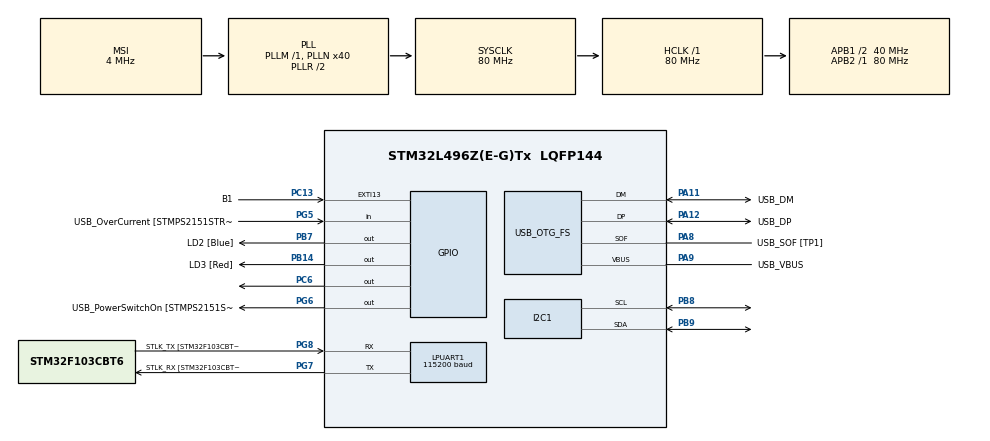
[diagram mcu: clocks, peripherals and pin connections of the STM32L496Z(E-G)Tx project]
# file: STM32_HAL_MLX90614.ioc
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I2C1.Timing=0x00909BEB
LPUART1.BaudRate=115200
LPUART1.WordLength=UART_WORDLENGTH_8B
Mcu.Family=STM32L4
Mcu.Name=STM32L496Z(E-G)Tx
Mcu.Package=LQFP144
NVIC.PriorityGroup=NVIC_PRIORITYGROUP_4
PA10.GPIO_Label=USB_ID
PA10.Signal=USB_OTG_FS_ID
PA11.GPIO_Label=USB_DM
PA11.Mode=Device_Only
PA11.Signal=USB_OTG_FS_DM
PA12.GPIO_Label=USB_DP
PA12.Mode=Device_Only
PA12.Signal=USB_OTG_FS_DP
PA13\ (JTMS/SWDIO).GPIO_Label=TMS
PA13\ (JTMS/SWDIO).Mode=Trace_Asynchronous_SW
PA13\ (JTMS/SWDIO).Signal=SYS_JTMS-SWDIO
PA14\ (JTCK/SWCLK).GPIO_Label=TCK
PA14\ (JTCK/SWCLK).Mode=Trace_Asynchronous_SW
PA14\ (JTCK/SWCLK).Signal=SYS_JTCK-SWCLK
PA8.GPIO_Label=USB_SOF [TP1]
PA8.Mode=Activate_SOF_FS
PA8.Signal=USB_OTG_FS_SOF
PA9.GPIO_Label=USB_VBUS
PA9.Mode=Activate_VBUS
PA9.Signal=USB_OTG_FS_VBUS
PB14.GPIO_Label=LD3 [Red]
PB14.Signal=GPIO_Output
PB3\ (JTDO/TRACESWO).GPIO_Label=SWO
PB3\ (JTDO/TRACESWO).Mode=Trace_Asynchronous_SW
PB3\ (JTDO/TRACESWO).Signal=SYS_JTDO-SWO
PB7.GPIO_Label=LD2 [Blue]
PB7.Signal=GPIO_Output
PB8.Mode=I2C
PB8.Signal=I2C1_SCL
PB9.Mode=I2C
PB9.Signal=I2C1_SDA
PC13.GPIO_Label=B1
PC13.Signal=GPXTI13
PC14-OSC32_IN\ (PC14).Mode=LSE-External-Oscillator
PC14-OSC32_IN\ (PC14).Signal=RCC_OSC32_IN
PC15-OSC32_OUT\ (PC15).Mode=LSE-External-Oscillator
PC15-OSC32_OUT\ (PC15).Signal=RCC_OSC32_OUT
PC6.Signal=GPIO_Output
PG5.GPIO_Label=USB_OverCurrent [STMPS2151STR_FAULT]
PG5.Signal=GPIO_Input
PG6.GPIO_Label=USB_PowerSwitchOn [STMPS2151STR_EN]
PG6.Signal=GPIO_Output
PG7.GPIO_Label=STLK_RX [STM32F103CBT6_PA3]
PG7.Mode=Asynchronous
PG7.Signal=LPUART1_TX
PG8.GPIO_Label=STLK_TX [STM32F103CBT6_PA2]
PG8.Mode=Asynchronous
PG8.Signal=LPUART1_RX
PH1-OSC_OUT\ (PH1).Signal=RCC_OSC_OUT
ProjectManager.HeapSize=0x200
ProjectManager.StackSize=0x400
ProjectManager.TargetToolchain=STM32CubeIDE
RCC.48MHZClocksFreq_Value=24000000
RCC.ADCFreq_Value=48000000
RCC.AHBFreq_Value=80000000
RCC.APB1CLKDivider=RCC_HCLK_DIV2
RCC.APB1Freq_Value=40000000
RCC.APB1TimFreq_Value=80000000
RCC.APB2Freq_Value=80000000
RCC.APB2TimFreq_Value=80000000
RCC.CortexFreq_Value=80000000
RCC.HCLKFreq_Value=80000000
RCC.HSE_VALUE=8000000
RCC.HSI48_VALUE=48000000
RCC.HSI_VALUE=16000000
RCC.MSI_VALUE=4000000
RCC.PLLMUL=RCC_PLL_MUL9
RCC.PLLN=40
RCC.PLLSAI1N=24
RCC.PRESCALERUSB=RCC_USBCLKSOURCE_PLL_DIV1_5
RCC.SYSCLKFreq_VALUE=80000000
RCC.SYSCLKSource=RCC_SYSCLKSOURCE_PLLCLK
RCC.SYSCLKSourceVirtual=RCC_SYSCLKSOURCE_PLLCLK
RCC.USBFreq_Value=48000000
RCC.VCOOutputFreq_Value=160000000
USB_OTG_FS.VirtualMode=Device_Only
board=NUCLEO-L496ZG

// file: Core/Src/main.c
/* USER CODE BEGIN Header */
/**
  ******************************************************************************
  * @file           : main.c
  * @brief          : Main program body
  ******************************************************************************
  * @attention
  *
  * Copyright (c) 2023 STMicroelectronics.
  * All rights reserved.
  *
  * This software is licensed under terms that can be found in the LICENSE file
  * in the root directory of this software component.
  * If no LICENSE file comes with this software, it is provided AS-IS.
  *
  ******************************************************************************
  */
/* USER CODE END Header */
#include "main.h"
#include "i2c.h"
#include "usart.h"
#include "usb_otg.h"
#include "gpio.h"

/* USER CODE BEGIN Includes */
#include "stdio.h"
#include "mlx90614.h"
/* USER CODE END Includes */

void SystemClock_Config(void);
/* USER CODE BEGIN PFP */
#define PUTCHAR_PROTOTYPE int __io_putchar(int ch)
/* USER CODE END PFP */

int main(void)
{

  /* MCU Configuration--------------------------------------------------------*/

  /* Reset of all peripherals, Initializes the Flash interface and the Systick. */
  HAL_Init();

  /* Configure the system clock */
  SystemClock_Config();

  /* Initialize all configured peripherals */
  MX_GPIO_Init();
  MX_LPUART1_UART_Init();
  MX_USB_OTG_FS_PCD_Init();
  MX_I2C1_Init();
  /* USER CODE BEGIN 2 */

  MLX90614 sensor[1];
  sensor->address = 0x5A;
  sensor->interface = &hi2c1;
  sensor->power_gpio = GPIOC;
  sensor->power_gpio_pin = GPIO_PIN_6;

  if(MLX90614_init(sensor) != HAL_OK) printf("Can't connect!\r\n");

  MLX90614_writeEEPROM(sensor, MLX90614_EEPROM_I2C_ADDRESS, 0x005A);

  int newAddress = MLX90614_readEEPROM(sensor, MLX90614_EEPROM_I2C_ADDRESS);
  printf("New address: %X\r\n", newAddress);

  /* USER CODE END 2 */

  /* Infinite loop */
  /* USER CODE BEGIN WHILE */
  while (1)
  {
	  float t_a, t_obj;
	  MLX90614_readAmbientTemperature(sensor, &t_a);
	  MLX90614_readObjTemperature(sensor, &t_obj, MLX90614_OBJ1);
	  printf("t_a: %f\t t_obj: %f\r\n", t_a, t_obj);
	  HAL_Delay(500);
    /* USER CODE END WHILE */

  }
}

void SystemClock_Config(void)
{
  RCC_OscInitTypeDef RCC_OscInitStruct = {0};
  RCC_ClkInitTypeDef RCC_ClkInitStruct = {0};

  /** Configure the main internal regulator output voltage
  */
  if (HAL_PWREx_ControlVoltageScaling(PWR_REGULATOR_VOLTAGE_SCALE1) != HAL_OK)
  {
    Error_Handler();
  }

  /** Configure LSE Drive Capability
  */
  HAL_PWR_EnableBkUpAccess();
  __HAL_RCC_LSEDRIVE_CONFIG(RCC_LSEDRIVE_LOW);

  /** Initializes the RCC Oscillators according to the specified parameters
  * in the RCC_OscInitTypeDef structure.
  */
  RCC_OscInitStruct.OscillatorType = RCC_OSCILLATORTYPE_LSE|RCC_OSCILLATORTYPE_MSI;
  RCC_OscInitStruct.LSEState = RCC_LSE_ON;
  RCC_OscInitStruct.MSIState = RCC_MSI_ON;
  RCC_OscInitStruct.MSICalibrationValue = 0;
  RCC_OscInitStruct.MSIClockRange = RCC_MSIRANGE_6;
  RCC_OscInitStruct.PLL.PLLState = RCC_PLL_ON;
  RCC_OscInitStruct.PLL.PLLSource = RCC_PLLSOURCE_MSI;
  RCC_OscInitStruct.PLL.PLLM = 1;
  RCC_OscInitStruct.PLL.PLLN = 40;
  RCC_OscInitStruct.PLL.PLLP = RCC_PLLP_DIV2;
  RCC_OscInitStruct.PLL.PLLQ = RCC_PLLQ_DIV2;
  RCC_OscInitStruct.PLL.PLLR = RCC_PLLR_DIV2;
  if (HAL_RCC_OscConfig(&RCC_OscInitStruct) != HAL_OK)
  {
    Error_Handler();
  }

  /** Initializes the CPU, AHB and APB buses clocks
  */
  RCC_ClkInitStruct.ClockType = RCC_CLOCKTYPE_HCLK|RCC_CLOCKTYPE_SYSCLK
                              |RCC_CLOCKTYPE_PCLK1|RCC_CLOCKTYPE_PCLK2;
  RCC_ClkInitStruct.SYSCLKSource = RCC_SYSCLKSOURCE_PLLCLK;
  RCC_ClkInitStruct.AHBCLKDivider = RCC_SYSCLK_DIV1;
  RCC_ClkInitStruct.APB1CLKDivider = RCC_HCLK_DIV2;
  RCC_ClkInitStruct.APB2CLKDivider = RCC_HCLK_DIV1;

  if (HAL_RCC_ClockConfig(&RCC_ClkInitStruct, FLASH_LATENCY_4) != HAL_OK)
  {
    Error_Handler();
  }

  /** Enable MSI Auto calibration
  */
  HAL_RCCEx_EnableMSIPLLMode();
}

/* USER CODE BEGIN 4 */
/**
  * @brief  Retargets the C library printf function to the USART.
  * @param  None
  * @retval None
  */
PUTCHAR_PROTOTYPE
{
  /* Place your implementation of fputc here */
  /* e.g. write a character to the USART1 and Loop until the end of transmission */
  HAL_UART_Transmit(&hlpuart1, (uint8_t *)&ch, 1, 0xFFFF);

  return ch;
}
/* USER CODE END 4 */

void Error_Handler(void)
{
  __disable_irq();
  while (1)
  {
  }
}
